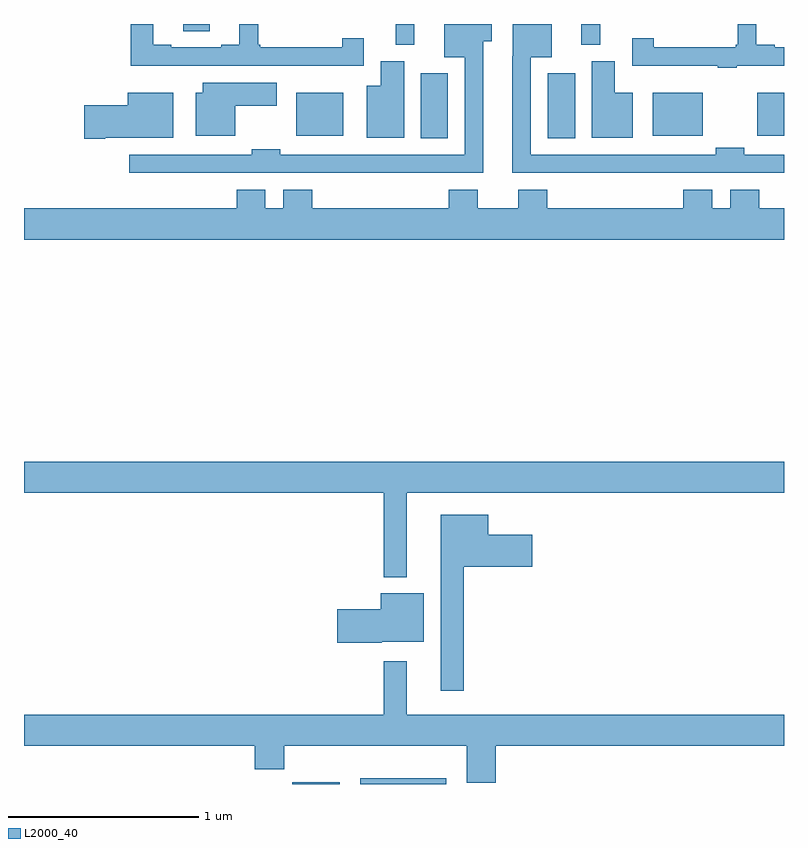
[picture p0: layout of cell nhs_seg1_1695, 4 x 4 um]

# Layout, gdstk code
import gdstk
lib = gdstk.Library(unit=1e-6, precision=1e-09)
def R(c, l, rs):  # rectangles x0, y0, x1, y1
    for r in rs: c.add(gdstk.rectangle(r[:2], r[2:], *l))
def P(c, l, *ps):  # polygons
    for p in ps: c.add(gdstk.Polygon(p, *l))
L2000_40 = (2000, 40)

nhs_seg1_1695 = lib.new_cell('nhs_seg1_1695')
R(nhs_seg1_1695, L2000_40, [(204.412,550.199,204.661,550.207), (204.771,550.199,205.222,550.228), (205.088,553.597,205.231,553.939), (205.757,553.597,205.9,553.939), (204.434,553.61,204.679,553.837), (206.309,553.61,206.572,553.837), (206.858,553.61,207,553.837), (204.956,554.089,205.054,554.199), (205.934,554.089,206.032,554.199), (203.837,554.161,203.977,554.199)])
P(nhs_seg1_1695, L2000_40, [(206.387,553.416),(206.89,553.416),(206.89,553.415),(207,553.415),(207,553.512),(206.79,553.512),(206.79,553.548),(206.64,553.548),(206.64,553.512),(205.668,553.512),(205.668,554.024),(205.777,554.024),(205.777,554.199),(205.572,554.199),(205.572,554.028),(205.571,554.028),(205.571,553.416),(205.837,553.416),(205.837,553.415),(206.387,553.415)],
  [(206.75,553.979),(207,553.979),(207,554.076),(206.95,554.076),(206.95,554.089),(206.854,554.089),(206.854,554.199),(206.756,554.199),(206.756,554.089),(206.745,554.089),(206.745,554.077),(206.315,554.077),(206.315,554.123),(206.202,554.123),(206.202,553.979),(206.65,553.979),(206.65,553.968),(206.75,553.968)],
  [(204.098,553.416),(204.601,553.416),(204.601,553.415),(205.151,553.415),(205.151,553.416),(205.417,553.416),(205.417,554.108),(205.462,554.108),(205.462,554.199),(205.211,554.199),(205.211,554.024),(205.32,554.024),(205.32,553.512),(204.348,553.512),(204.348,553.54),(204.198,553.54),(204.198,553.512),(203.553,553.512),(203.553,553.415),(204.098,553.415)],
  [(203.846,553.98),(204.438,553.98),(204.438,553.979),(204.787,553.979),(204.787,554.123),(204.674,554.123),(204.674,554.077),(204.244,554.077),(204.244,554.089),(204.232,554.089),(204.232,554.199),(204.134,554.199),(204.134,554.089),(204.038,554.089),(204.038,554.076),(203.776,554.076),(203.776,554.089),(203.68,554.089),(203.68,554.199),(203.563,554.199),(203.563,553.979),(203.846,553.979)],
  [(205,554.004),(204.878,554.004),(204.878,553.873),(204.803,553.873),(204.803,553.601),(205,553.601)],
  [(206.203,553.837),(206.11,553.837),(206.11,554.004),(205.988,554.004),(205.988,553.601),(206.203,553.601)],
  [(204.112,553.769),(204.331,553.769),(204.331,553.891),(203.942,553.891),(203.942,553.837),(203.903,553.837),(203.903,553.61),(204.112,553.61)],
  [(203.428,553.601),(203.785,553.601),(203.785,553.837),(203.546,553.837),(203.546,553.772),(203.316,553.772),(203.316,553.594),(203.428,553.594)],
  [(206.717,553.327),(206.717,553.228),(206.623,553.228),(206.623,553.327),(206.471,553.327),(206.471,553.228),(205.754,553.228),(205.754,553.327),(205.601,553.327),(205.601,553.228),(205.387,553.228),(205.387,553.327),(205.235,553.327),(205.235,553.228),(204.518,553.228),(204.518,553.327),(204.365,553.327),(204.365,553.228),(204.271,553.228),(204.271,553.327),(204.119,553.327),(204.119,553.228),(203,553.228),(203,553.064),(207,553.064),(207,553.228),(206.87,553.228),(206.87,553.327)],
  [(205.015,551.732),(207,551.732),(207,551.896),(203,551.896),(203,551.732),(204.894,551.732),(204.894,551.288),(205.015,551.288)],
  [(205.315,551.342),(205.675,551.342),(205.675,551.512),(205.444,551.512),(205.444,551.617),(205.193,551.617),(205.193,550.689),(205.315,550.689)],
  [(204.882,550.949),(205.105,550.949),(205.105,551.203),(204.878,551.203),(204.878,551.12),(204.648,551.12),(204.648,550.942),(204.882,550.942)],
  [(205.484,550.4),(207,550.4),(207,550.564),(205.015,550.564),(205.015,550.846),(204.894,550.846),(204.894,550.564),(203,550.564),(203,550.4),(204.215,550.4),(204.215,550.276),(204.371,550.276),(204.371,550.4),(205.331,550.4),(205.331,550.206),(205.484,550.206)])

lib.write_gds('nhs_seg1_1695.gds')
